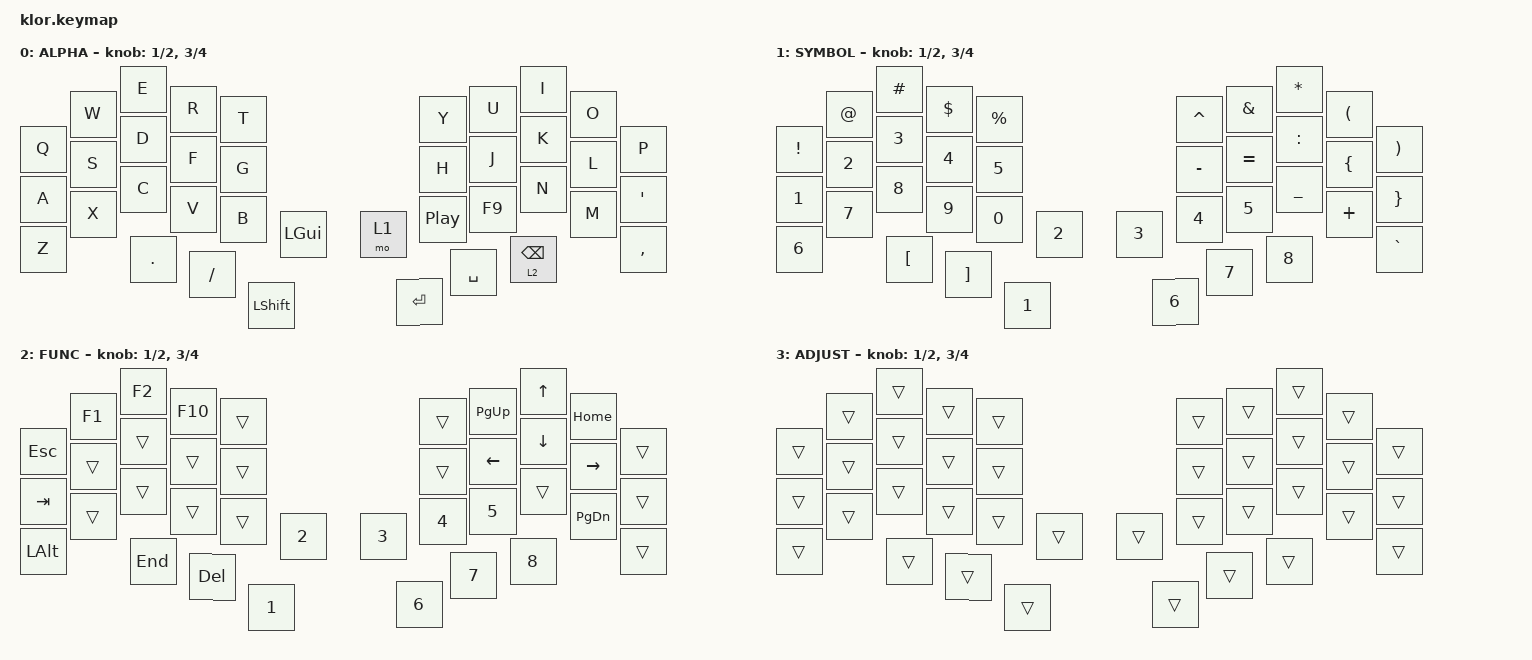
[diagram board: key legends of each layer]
//                               █         █    █            ▄▄▄▀▀▀▀▀▀▄▄▄        █▀▀▀▀▀▀▀▀▀▀█
//                               █        █     █          ▄▀            ▀▄      █          █
//                               █       █      █        ▄▀                ▀▄    █          █
//                               █      █       █        █                  █    █          █
//                               █     █        █       █                    █   █          █
//                               █    █         █       █                    █   █▄▄▄▄▄▄▄▄▄▄█
//                               █   █ █        █       █                    █   █      █
//                               █  █   █       █        █                  █    █       █
//                               █ █     █      █        ▀▄                ▄▀    █        █
//                               ██       █     █          ▀▄            ▄▀      █         █
//                               █         █    █▄▄▄▄▄▄▄▄    ▀▀▀▄▄▄▄▄▄▀▀▀        █          █
//
// ▄▄▄▄▄▄▄▄▄▄▄▄▄▄▄▄▄▄▄▄▄▄▄▄▄▄▄▄▄▄▄▄▄▄▄▄▄▄▄▄▄▄▄▄▄▄▄▄▄▄▄▄▄▄▄▄▄▄▄▄▄▄▄▄▄▄▄▄▄▄▄▄▄▄▄▄▄▄▄▄▄▄▄▄▄▄▄▄▄▄▄▄▄▄▄▄▄▄▄▄▄▄▄▄▄▄▄▄▄▄▄▄▄▄▄▄▄▄▄▄▄▄▄▄▄

#include <behaviors.dtsi>
#include <dt-bindings/zmk/keys.h>

#define ALPHA  0
#define SYMBOL 1
#define FUNC   2
#define ADJUST 3

/ {
    keymap {
        compatible = "zmk,keymap";

        alpha_layer {
            label = "ALPHA";
            bindings = <
  &kp Q  &kp W       &kp E      &kp R           &kp T         &kp Y             &kp U       &kp I      &kp O            &kp P
  &kp A  &kp S       &kp D      &kp F           &kp G         &kp H             &kp J       &kp K      &kp L            &kp APOS
  &kp Z  &kp X       &kp C      &kp V           &kp B         &kp C_PLAY_PAUSE  &kp F9      &kp N      &kp M            &kp COMMA
         &kp PERIOD  &kp SLASH  &kp LEFT_SHIFT  &kp LEFT_GUI  &mo 1             &kp RETURN  &kp SPACE  &lt 2 BACKSPACE
            >;

            sensor-bindings = <&inc_dec_kp N1 N2 &inc_dec_kp N3 N4>;
        };

        symbol_layer {
            label = "SYMBOL";
            bindings = <
  &kp EXCL  &kp AT            &kp HASH           &kp DOLLAR  &kp PERCENT  &kp CARET  &kp AMPERSAND  &kp ASTERISK  &kp LEFT_PARENTHESIS  &kp RIGHT_PARENTHESIS
  &kp N1    &kp N2            &kp N3             &kp N4      &kp N5       &kp MINUS  &kp EQUAL      &kp COLON     &kp LEFT_BRACE        &kp RIGHT_BRACE
  &kp N6    &kp N7            &kp N8             &kp N9      &kp N0       &kp N4     &kp N5         &kp UNDER     &kp PLUS              &kp GRAVE
            &kp LEFT_BRACKET  &kp RIGHT_BRACKET  &kp N1      &kp N2       &kp N3     &kp N6         &kp N7        &kp N8
            >;

            sensor-bindings = <&inc_dec_kp N1 N2 &inc_dec_kp N3 N4>;
        };

        func_layer {
            label = "FUNC";
            bindings = <
  &kp ESC       &kp F1   &kp F2   &kp F10  &trans  &trans  &kp PAGE_UP  &kp UP_ARROW    &kp HOME       &trans
  &kp TAB       &trans   &trans   &trans   &trans  &trans  &kp LEFT     &kp DOWN_ARROW  &kp RIGHT      &trans
  &kp LEFT_ALT  &trans   &trans   &trans   &trans  &kp N4  &kp N5       &trans          &kp PAGE_DOWN  &trans
                &kp END  &kp DEL  &kp N1   &kp N2  &kp N3  &kp N6       &kp N7          &kp N8
            >;

            sensor-bindings = <&inc_dec_kp N1 N2 &inc_dec_kp N3 N4>;
        };

        adjust_layer {
            label = "ADJUST";
            bindings = <
  &trans  &trans  &trans  &trans  &trans  &trans  &trans  &trans  &trans  &trans
  &trans  &trans  &trans  &trans  &trans  &trans  &trans  &trans  &trans  &trans
  &trans  &trans  &trans  &trans  &trans  &trans  &trans  &trans  &trans  &trans
          &trans  &trans  &trans  &trans  &trans  &trans  &trans  &trans
            >;

            sensor-bindings = <&inc_dec_kp N1 N2 &inc_dec_kp N3 N4>;
        };
    };
};
